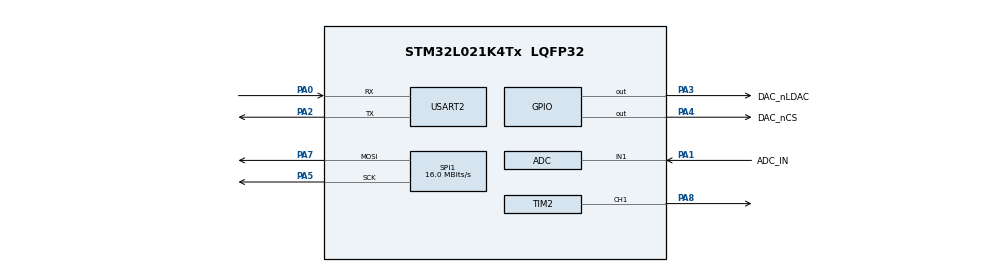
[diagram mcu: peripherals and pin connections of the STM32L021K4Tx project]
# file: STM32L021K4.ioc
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ADC.ContinuousConvMode=ENABLE
ADC.Resolution=ADC_RESOLUTION_8B
ADC.SamplingTime=ADC_SAMPLETIME_12CYCLES_5
Mcu.Family=STM32L0
Mcu.Name=STM32L021K4Tx
Mcu.Package=LQFP32
NVIC.ADC1_COMP_IRQn=true\:0\:0\:false\:false\:true\:true\:true
NVIC.TIM21_IRQn=true\:1\:0\:true\:false\:true\:true\:true
NVIC.USART2_IRQn=true\:0\:0\:false\:false\:true\:true\:true
PA0-CK_IN.Mode=Asynchronous
PA0-CK_IN.Signal=USART2_RX
PA1.GPIO_Label=ADC_IN
PA1.Mode=IN1
PA1.Signal=ADC_IN1
PA13.Mode=Serial_Wire
PA13.Signal=SYS_SWDIO
PA14.Mode=Serial_Wire
PA14.Signal=SYS_SWCLK
PA2.Mode=Asynchronous
PA2.Signal=USART2_TX
PA3.GPIO_Label=DAC_nLDAC
PA3.Signal=GPIO_Output
PA4.GPIO_Label=DAC_nCS
PA4.Signal=GPIO_Output
PA5.Mode=TX_Only_Simplex_Unidirect_Master
PA5.Signal=SPI1_SCK
PA7.Mode=TX_Only_Simplex_Unidirect_Master
PA7.Signal=SPI1_MOSI
PA8.Signal=S_TIM2_CH1
ProjectManager.HeapSize=0x000
ProjectManager.StackSize=0x200
ProjectManager.TargetToolchain=STM32CubeIDE
RCC.AHBFreq_Value=32000000
RCC.APB1Freq_Value=32000000
RCC.APB1TimFreq_Value=32000000
RCC.APB2Freq_Value=32000000
RCC.APB2TimFreq_Value=32000000
RCC.HCLKFreq_Value=32000000
RCC.HSE_VALUE=8000000
RCC.HSI16_VALUE=16000000
RCC.HSI_VALUE=16000000
RCC.LSE_VALUE=32768
RCC.MSI_VALUE=2097000
RCC.PLLMUL=RCC_PLLMUL_4
RCC.SYSCLKFreq_VALUE=32000000
RCC.SYSCLKSource=RCC_SYSCLKSOURCE_PLLCLK
RCC.VCOOutputFreq_Value=64000000
SH.S_TIM2_CH1.0=TIM2_CH1,PWM Generation1 CH1
SPI1.CalculateBaudRate=16.0 MBits/s
SPI1.DataSize=SPI_DATASIZE_16BIT
SPI1.Direction=SPI_DIRECTION_2LINES
SPI1.Mode=SPI_MODE_MASTER
SPI1.VirtualType=VM_MASTER
TIM2.AutoReloadPreload=TIM_AUTORELOAD_PRELOAD_DISABLE
TIM2.Channel-PWM\ Generation1\ CH1=TIM_CHANNEL_1
TIM2.CounterMode=TIM_COUNTERMODE_CENTERALIGNED1
TIM2.OC1Preload_PWM=DISABLE
TIM2.OCMode_PWM-PWM\ Generation1\ CH1=TIM_OCMODE_PWM1
TIM2.OCPolarity_1=TIM_OCPOLARITY_HIGH
TIM2.Period=255
TIM2.Prescaler=124
TIM2.Pulse-PWM\ Generation1\ CH1=0
TIM2.TIM_MasterOutputTrigger=TIM_TRGO_OC1
TIM2.TIM_MasterSlaveMode=TIM_MASTERSLAVEMODE_DISABLE
TIM21.AutoReloadPreload=TIM_AUTORELOAD_PRELOAD_ENABLE
TIM21.Period=31999
TIM21.Prescaler=0
TIM21.TIM_MasterOutputTrigger=TIM_TRGO_RESET
USART2.VirtualMode-Asynchronous=VM_ASYNC
VP_TIM21_VS_ClockSourceINT.Mode=Internal
VP_TIM2_VS_ClockSourceINT.Mode=Internal
board=custom

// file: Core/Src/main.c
/* USER CODE BEGIN Header */
/*
 ******************************************************************************
 *  					TP Systèmes à microcontrôleur
 *
 *  Jeremy VICENTE & Baptiste FRITOT
 *  main.c
 *
 ******************************************************************************
 */
/* USER CODE END Header */
#include "main.h"

/* USER CODE BEGIN Includes */
#include "led.h"
#include "serial.h"
#include "shell.h"
#include "AnalogOut.h"
#include "timebase.h"
#include "AnalogIn.h"
#include "RCFilter.h"
/* USER CODE END Includes */

/* USER CODE BEGIN PTD */
hShell_t hShell;

// Structure pour la gestion la led Status :

// Initialisation des données de la structure
DAC_ADC valeur = { 0 , 0 };

extern DAC_ADC valeur;
extern hRCFilter_t hRCFilter;
uint8_t count = 0;

/* USER CODE END PTD */

void SystemClock_Config(void);
static void MX_GPIO_Init(void);
static void MX_USART2_UART_Init(void);
static void MX_ADC_Init(void);
static void MX_SPI1_Init(void);
static void MX_TIM2_Init(void);
static void MX_TIM21_Init(void);

int main(void)
{

	/* MCU Configuration--------------------------------------------------------*/

	/* Reset of all peripherals, Initializes the Flash interface and the Systick. */

	LL_APB2_GRP1_EnableClock(LL_APB2_GRP1_PERIPH_SYSCFG);
	LL_APB1_GRP1_EnableClock(LL_APB1_GRP1_PERIPH_PWR);

	/* System interrupt init*/
	/* SysTick_IRQn interrupt configuration */
	NVIC_SetPriority(SysTick_IRQn, 3);

	/* Configure the system clock */
	SystemClock_Config();

	/* Initialize all configured peripherals */
	MX_GPIO_Init();
	MX_USART2_UART_Init();
	MX_ADC_Init();
	MX_SPI1_Init();
	MX_TIM2_Init();
	MX_TIM21_Init();
	/* USER CODE BEGIN 2 */

	/************** Initialisation **************/

	//Questionn 3.5 Amélioration : Activation interrupt UART
	LL_USART_EnableIT_RXNE(USART2);
	// Question 3.5 Shell
	ShellInit(&hShell, &SerialTransmit);
	// Question 3.2 InitLed()
	LedStart();
	// Question 3.3 Led Timer
	TimeBaseStartIT();
	// Question 3.6
	AnalogOutInit();
	// Question 3.7
	AnalogInInit();

	// Question 3.8 filtre RC
	//RCFilterInit(&hRCFilter, 32000, 16000);

	/* USER CODE END 2 */

	/* Infinite loop */
	/* USER CODE BEGIN WHILE */

	while (1)
	{
		/* 3.2 Code led simple (sans le timer 21) */
		/*   Commenté car géré par le Timer 21 */
		//			LedPulse();
		//			LL_mDelay(1);

		// 3.4 : Code pour écrire / lire sur uart2
		//		char ch = SerialReceiveChar();
		//	SerialTransmit(&ch, 1);

		// 3.5 : Code pour le shell : // (supprimé pour retirer le polling).
		//		char c = SerialReceiveByte();
		//		ShellProcess(&hShell, c);

		// Compteur pour jouer sur l'échantillon du signal -> Visible sur l'oscillo
		if (count>32){ // Valeur à modifier pour modifier l'échantillon.

			// Question 3.6 Génération du signal triangle
			//AnalogOutPulse();

			// Question 3.7 : By pass avec
			// Génération dy bypass
			valeur.ADC_IN = AnalogInGetValue();
			// Question 3.8 filtre RC
			// uint16_t RCFilterUpdate(hRCFilter_t * hRCFilter, uint16_t input)
			valeur.DAC_OUT = valeur.ADC_IN;
			AnalogOutConvert(valeur.DAC_OUT);
			AnalogInStartConversion();
			count = 0;
		}

		/* USER CODE END WHILE */

	}
}

void SystemClock_Config(void)
{
	LL_FLASH_SetLatency(LL_FLASH_LATENCY_1);
	while(LL_FLASH_GetLatency()!= LL_FLASH_LATENCY_1)
	{
	}
	LL_PWR_SetRegulVoltageScaling(LL_PWR_REGU_VOLTAGE_SCALE1);
	LL_RCC_HSI_Enable();

	/* Wait till HSI is ready */
	while(LL_RCC_HSI_IsReady() != 1)
	{

	}
	LL_RCC_HSI_SetCalibTrimming(16);
	LL_RCC_PLL_ConfigDomain_SYS(LL_RCC_PLLSOURCE_HSI, LL_RCC_PLL_MUL_4, LL_RCC_PLL_DIV_2);
	LL_RCC_PLL_Enable();

	/* Wait till PLL is ready */
	while(LL_RCC_PLL_IsReady() != 1)
	{

	}
	LL_RCC_SetAHBPrescaler(LL_RCC_SYSCLK_DIV_1);
	LL_RCC_SetAPB1Prescaler(LL_RCC_APB1_DIV_1);
	LL_RCC_SetAPB2Prescaler(LL_RCC_APB2_DIV_1);
	LL_RCC_SetSysClkSource(LL_RCC_SYS_CLKSOURCE_PLL);

	/* Wait till System clock is ready */
	while(LL_RCC_GetSysClkSource() != LL_RCC_SYS_CLKSOURCE_STATUS_PLL)
	{

	}

	LL_Init1msTick(32000000);

	LL_SetSystemCoreClock(32000000);
	LL_RCC_SetUSARTClockSource(LL_RCC_USART2_CLKSOURCE_PCLK1);
}

static void MX_ADC_Init(void)
{

	LL_ADC_REG_InitTypeDef ADC_REG_InitStruct = {0};
	LL_ADC_InitTypeDef ADC_InitStruct = {0};

	LL_GPIO_InitTypeDef GPIO_InitStruct = {0};

	/* Peripheral clock enable */
	LL_APB2_GRP1_EnableClock(LL_APB2_GRP1_PERIPH_ADC1);

	LL_IOP_GRP1_EnableClock(LL_IOP_GRP1_PERIPH_GPIOA);
	/**ADC GPIO Configuration
  PA1   ------> ADC_IN1
	 */
	GPIO_InitStruct.Pin = ADC_IN_Pin;
	GPIO_InitStruct.Mode = LL_GPIO_MODE_ANALOG;
	GPIO_InitStruct.Pull = LL_GPIO_PULL_NO;
	LL_GPIO_Init(ADC_IN_GPIO_Port, &GPIO_InitStruct);

	/* ADC interrupt Init */
	NVIC_SetPriority(ADC1_COMP_IRQn, 0);
	NVIC_EnableIRQ(ADC1_COMP_IRQn);

	/** Configure Regular Channel
	 */
	LL_ADC_REG_SetSequencerChAdd(ADC1, LL_ADC_CHANNEL_1);
	/** Common config
	 */
	ADC_REG_InitStruct.TriggerSource = LL_ADC_REG_TRIG_SOFTWARE;
	ADC_REG_InitStruct.SequencerDiscont = LL_ADC_REG_SEQ_DISCONT_DISABLE;
	ADC_REG_InitStruct.ContinuousMode = LL_ADC_REG_CONV_CONTINUOUS;
	ADC_REG_InitStruct.DMATransfer = LL_ADC_REG_DMA_TRANSFER_NONE;
	ADC_REG_InitStruct.Overrun = LL_ADC_REG_OVR_DATA_PRESERVED;
	LL_ADC_REG_Init(ADC1, &ADC_REG_InitStruct);
	LL_ADC_SetSamplingTimeCommonChannels(ADC1, LL_ADC_SAMPLINGTIME_12CYCLES_5);
	LL_ADC_SetOverSamplingScope(ADC1, LL_ADC_OVS_DISABLE);
	LL_ADC_REG_SetSequencerScanDirection(ADC1, LL_ADC_REG_SEQ_SCAN_DIR_FORWARD);
	LL_ADC_SetCommonFrequencyMode(__LL_ADC_COMMON_INSTANCE(ADC1), LL_ADC_CLOCK_FREQ_MODE_HIGH);
	LL_ADC_DisableIT_EOC(ADC1);
	LL_ADC_DisableIT_EOS(ADC1);
	ADC_InitStruct.Clock = LL_ADC_CLOCK_SYNC_PCLK_DIV2;
	ADC_InitStruct.Resolution = LL_ADC_RESOLUTION_8B;
	ADC_InitStruct.DataAlignment = LL_ADC_DATA_ALIGN_RIGHT;
	ADC_InitStruct.LowPowerMode = LL_ADC_LP_MODE_NONE;
	LL_ADC_Init(ADC1, &ADC_InitStruct);

	/* Enable ADC internal voltage regulator */
	LL_ADC_EnableInternalRegulator(ADC1);
	/* Delay for ADC internal voltage regulator stabilization. */
	/* Compute number of CPU cycles to wait for, from delay in us. */
	/* Note: Variable divided by 2 to compensate partially */
	/* CPU processing cycles (depends on compilation optimization). */
	/* Note: If system core clock frequency is below 200kHz, wait time */
	/* is only a few CPU processing cycles. */
	uint32_t wait_loop_index;
	wait_loop_index = ((LL_ADC_DELAY_INTERNAL_REGUL_STAB_US * (SystemCoreClock / (100000 * 2))) / 10);
	while(wait_loop_index != 0)
	{
		wait_loop_index--;
	}

}

static void MX_SPI1_Init(void)
{

	LL_SPI_InitTypeDef SPI_InitStruct = {0};

	LL_GPIO_InitTypeDef GPIO_InitStruct = {0};

	/* Peripheral clock enable */
	LL_APB2_GRP1_EnableClock(LL_APB2_GRP1_PERIPH_SPI1);

	LL_IOP_GRP1_EnableClock(LL_IOP_GRP1_PERIPH_GPIOA);
	/**SPI1 GPIO Configuration
  PA5   ------> SPI1_SCK
  PA7   ------> SPI1_MOSI
	 */
	GPIO_InitStruct.Pin = LL_GPIO_PIN_5;
	GPIO_InitStruct.Mode = LL_GPIO_MODE_ALTERNATE;
	GPIO_InitStruct.Speed = LL_GPIO_SPEED_FREQ_VERY_HIGH;
	GPIO_InitStruct.OutputType = LL_GPIO_OUTPUT_PUSHPULL;
	GPIO_InitStruct.Pull = LL_GPIO_PULL_NO;
	GPIO_InitStruct.Alternate = LL_GPIO_AF_0;
	LL_GPIO_Init(GPIOA, &GPIO_InitStruct);

	GPIO_InitStruct.Pin = LL_GPIO_PIN_7;
	GPIO_InitStruct.Mode = LL_GPIO_MODE_ALTERNATE;
	GPIO_InitStruct.Speed = LL_GPIO_SPEED_FREQ_VERY_HIGH;
	GPIO_InitStruct.OutputType = LL_GPIO_OUTPUT_PUSHPULL;
	GPIO_InitStruct.Pull = LL_GPIO_PULL_NO;
	GPIO_InitStruct.Alternate = LL_GPIO_AF_0;
	LL_GPIO_Init(GPIOA, &GPIO_InitStruct);

	/* SPI1 parameter configuration*/
	SPI_InitStruct.TransferDirection = LL_SPI_FULL_DUPLEX;
	SPI_InitStruct.Mode = LL_SPI_MODE_MASTER;
	SPI_InitStruct.DataWidth = LL_SPI_DATAWIDTH_16BIT;
	SPI_InitStruct.ClockPolarity = LL_SPI_POLARITY_LOW;
	SPI_InitStruct.ClockPhase = LL_SPI_PHASE_1EDGE;
	SPI_InitStruct.NSS = LL_SPI_NSS_SOFT;
	SPI_InitStruct.BaudRate = LL_SPI_BAUDRATEPRESCALER_DIV2;
	SPI_InitStruct.BitOrder = LL_SPI_MSB_FIRST;
	SPI_InitStruct.CRCCalculation = LL_SPI_CRCCALCULATION_DISABLE;
	SPI_InitStruct.CRCPoly = 7;
	LL_SPI_Init(SPI1, &SPI_InitStruct);
	LL_SPI_SetStandard(SPI1, LL_SPI_PROTOCOL_MOTOROLA);

}

static void MX_TIM2_Init(void)
{

	LL_TIM_InitTypeDef TIM_InitStruct = {0};
	LL_TIM_OC_InitTypeDef TIM_OC_InitStruct = {0};

	LL_GPIO_InitTypeDef GPIO_InitStruct = {0};

	/* Peripheral clock enable */
	LL_APB1_GRP1_EnableClock(LL_APB1_GRP1_PERIPH_TIM2);

	TIM_InitStruct.Prescaler = 124;
	TIM_InitStruct.CounterMode = LL_TIM_COUNTERMODE_CENTER_UP;
	TIM_InitStruct.Autoreload = 255;
	TIM_InitStruct.ClockDivision = LL_TIM_CLOCKDIVISION_DIV1;
	LL_TIM_Init(TIM2, &TIM_InitStruct);
	LL_TIM_DisableARRPreload(TIM2);
	LL_TIM_SetClockSource(TIM2, LL_TIM_CLOCKSOURCE_INTERNAL);
	LL_TIM_OC_EnablePreload(TIM2, LL_TIM_CHANNEL_CH1);
	TIM_OC_InitStruct.OCMode = LL_TIM_OCMODE_PWM1;
	TIM_OC_InitStruct.OCState = LL_TIM_OCSTATE_DISABLE;
	TIM_OC_InitStruct.CompareValue = 0;
	TIM_OC_InitStruct.OCPolarity = LL_TIM_OCPOLARITY_HIGH;
	LL_TIM_OC_Init(TIM2, LL_TIM_CHANNEL_CH1, &TIM_OC_InitStruct);
	LL_TIM_OC_DisableFast(TIM2, LL_TIM_CHANNEL_CH1);
	LL_TIM_SetTriggerOutput(TIM2, LL_TIM_TRGO_CC1IF);
	LL_TIM_DisableMasterSlaveMode(TIM2);
	LL_TIM_OC_DisablePreload(TIM2, LL_TIM_CHANNEL_CH1);
	LL_IOP_GRP1_EnableClock(LL_IOP_GRP1_PERIPH_GPIOA);
	/**TIM2 GPIO Configuration
  PA8   ------> TIM2_CH1
	 */
	GPIO_InitStruct.Pin = LL_GPIO_PIN_8;
	GPIO_InitStruct.Mode = LL_GPIO_MODE_ALTERNATE;
	GPIO_InitStruct.Speed = LL_GPIO_SPEED_FREQ_LOW;
	GPIO_InitStruct.OutputType = LL_GPIO_OUTPUT_PUSHPULL;
	GPIO_InitStruct.Pull = LL_GPIO_PULL_NO;
	GPIO_InitStruct.Alternate = LL_GPIO_AF_5;
	LL_GPIO_Init(GPIOA, &GPIO_InitStruct);

}

static void MX_TIM21_Init(void)
{

	LL_TIM_InitTypeDef TIM_InitStruct = {0};

	/* Peripheral clock enable */
	LL_APB2_GRP1_EnableClock(LL_APB2_GRP1_PERIPH_TIM21);

	/* TIM21 interrupt Init */
	NVIC_SetPriority(TIM21_IRQn, 1);
	NVIC_EnableIRQ(TIM21_IRQn);

	TIM_InitStruct.Prescaler = 0;
	TIM_InitStruct.CounterMode = LL_TIM_COUNTERMODE_UP;
	TIM_InitStruct.Autoreload = 31999;
	TIM_InitStruct.ClockDivision = LL_TIM_CLOCKDIVISION_DIV1;
	LL_TIM_Init(TIM21, &TIM_InitStruct);
	LL_TIM_EnableARRPreload(TIM21);
	LL_TIM_SetClockSource(TIM21, LL_TIM_CLOCKSOURCE_INTERNAL);
	LL_TIM_SetTriggerOutput(TIM21, LL_TIM_TRGO_RESET);
	LL_TIM_DisableMasterSlaveMode(TIM21);

}

static void MX_USART2_UART_Init(void)
{

	LL_USART_InitTypeDef USART_InitStruct = {0};

	LL_GPIO_InitTypeDef GPIO_InitStruct = {0};

	/* Peripheral clock enable */
	LL_APB1_GRP1_EnableClock(LL_APB1_GRP1_PERIPH_USART2);

	LL_IOP_GRP1_EnableClock(LL_IOP_GRP1_PERIPH_GPIOA);
	/**USART2 GPIO Configuration
  PA0-CK_IN   ------> USART2_RX
  PA2   ------> USART2_TX
	 */
	GPIO_InitStruct.Pin = LL_GPIO_PIN_0;
	GPIO_InitStruct.Mode = LL_GPIO_MODE_ALTERNATE;
	GPIO_InitStruct.Speed = LL_GPIO_SPEED_FREQ_VERY_HIGH;
	GPIO_InitStruct.OutputType = LL_GPIO_OUTPUT_PUSHPULL;
	GPIO_InitStruct.Pull = LL_GPIO_PULL_NO;
	GPIO_InitStruct.Alternate = LL_GPIO_AF_0;
	LL_GPIO_Init(GPIOA, &GPIO_InitStruct);

	GPIO_InitStruct.Pin = LL_GPIO_PIN_2;
	GPIO_InitStruct.Mode = LL_GPIO_MODE_ALTERNATE;
	GPIO_InitStruct.Speed = LL_GPIO_SPEED_FREQ_VERY_HIGH;
	GPIO_InitStruct.OutputType = LL_GPIO_OUTPUT_PUSHPULL;
	GPIO_InitStruct.Pull = LL_GPIO_PULL_NO;
	GPIO_InitStruct.Alternate = LL_GPIO_AF_4;
	LL_GPIO_Init(GPIOA, &GPIO_InitStruct);

	/* USART2 interrupt Init */
	NVIC_SetPriority(USART2_IRQn, 0);
	NVIC_EnableIRQ(USART2_IRQn);

	USART_InitStruct.BaudRate = 115200;
	USART_InitStruct.DataWidth = LL_USART_DATAWIDTH_8B;
	USART_InitStruct.StopBits = LL_USART_STOPBITS_1;
	USART_InitStruct.Parity = LL_USART_PARITY_NONE;
	USART_InitStruct.TransferDirection = LL_USART_DIRECTION_TX_RX;
	USART_InitStruct.HardwareFlowControl = LL_USART_HWCONTROL_NONE;
	USART_InitStruct.OverSampling = LL_USART_OVERSAMPLING_16;
	LL_USART_Init(USART2, &USART_InitStruct);
	LL_USART_ConfigAsyncMode(USART2);
	LL_USART_Enable(USART2);

}

static void MX_GPIO_Init(void)
{
	LL_GPIO_InitTypeDef GPIO_InitStruct = {0};

	/* GPIO Ports Clock Enable */
	LL_IOP_GRP1_EnableClock(LL_IOP_GRP1_PERIPH_GPIOA);

	/**/
	LL_GPIO_ResetOutputPin(DAC_nLDAC_GPIO_Port, DAC_nLDAC_Pin);

	/**/
	LL_GPIO_ResetOutputPin(DAC_nCS_GPIO_Port, DAC_nCS_Pin);

	/**/
	GPIO_InitStruct.Pin = DAC_nLDAC_Pin;
	GPIO_InitStruct.Mode = LL_GPIO_MODE_OUTPUT;
	GPIO_InitStruct.Speed = LL_GPIO_SPEED_FREQ_LOW;
	GPIO_InitStruct.OutputType = LL_GPIO_OUTPUT_PUSHPULL;
	GPIO_InitStruct.Pull = LL_GPIO_PULL_NO;
	LL_GPIO_Init(DAC_nLDAC_GPIO_Port, &GPIO_InitStruct);

	/**/
	GPIO_InitStruct.Pin = DAC_nCS_Pin;
	GPIO_InitStruct.Mode = LL_GPIO_MODE_OUTPUT;
	GPIO_InitStruct.Speed = LL_GPIO_SPEED_FREQ_LOW;
	GPIO_InitStruct.OutputType = LL_GPIO_OUTPUT_PUSHPULL;
	GPIO_InitStruct.Pull = LL_GPIO_PULL_NO;
	LL_GPIO_Init(DAC_nCS_GPIO_Port, &GPIO_InitStruct);

}

void Error_Handler(void)
{
	__disable_irq();
	while (1)
	{
	}
}
